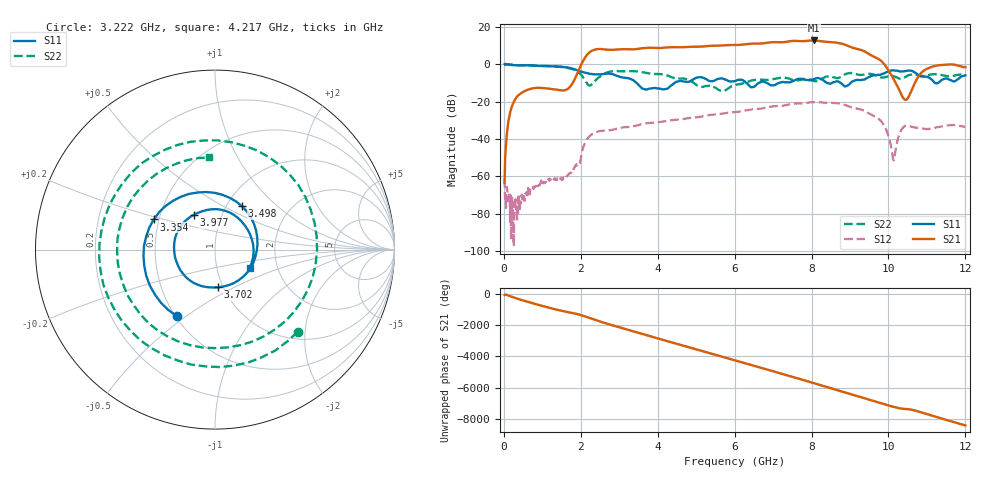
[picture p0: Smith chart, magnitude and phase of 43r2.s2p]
#  HZ  S  DB  R  50.00
! Rohde & Schwarz ZVA67 4Ports - Version 3.30 - 1305.7002k04 SN: 101038
! Date: 2022-09-30 01:50:57
! Measurements: S11 S21 S12 S22
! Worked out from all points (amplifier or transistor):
!   1000 points, 20 MHz to 12 GHz, reference 50 ohm
!   highest |S21| = 12.8 dB at 8.067 GHz (marker M1)
!   |S21| within 3 dB of that: 5.295 GHz to 8.955 GHz (3.66 GHz wide, 51.4 % of centre)
!   unconditionally stable (mu >= 1): 43.91 MHz to 63.83 MHz; 116.7 MHz to 7.641 GHz; 8.457 GHz to end of sweep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
!   at 2.011 GHz: K = 64.27, MAG = 3.4 dB, |S12| = -49.3 dB
!   at 6.016 GHz: K = 2.37, MAG = 11.4 dB, |S12| = -25.6 dB
!   at 12 GHz: K = 15.13, MAG = 1.1 dB, |S12| = -33.4 dB
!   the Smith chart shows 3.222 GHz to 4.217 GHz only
!   S11 on the Smith chart (normalised r, x): 3.222 GHz: 0.51, -0.46; 3.354 GHz: 0.47, +0.18; 3.498 GHz: 1.18, +0.62; 3.702 GHz: 0.95, -0.42; 3.977 GHz: 0.74, +0.30; 4.217 GHz: 1.44, -0.31
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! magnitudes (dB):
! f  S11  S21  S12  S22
! 20 MHz  0.0  -63.5  -61.7  0.1
! 139.9 MHz  -0.1  -28.1  -69.7  -0.1
! 331.8 MHz  -0.5  -17.6  -76.2  -0.5
! 1.639 GHz  -1.6  -13.5  -59.7  -1.9
! 2.023 GHz  -4.0  0.3  -47.9  -5.9
! 2.322 GHz  -5.3  7.5  -37.1  -10.0
! 3.222 GHz  -7.4  8.0  -33.6  -3.7
! 3.354 GHz  -8.4  8.0  -33.2  -3.7
! 3.498 GHz  -10.9  8.3  -32.5  -3.9
! 3.702 GHz  -13.5  8.8  -31.6  -4.6
! 3.977 GHz  -12.9  8.7  -31.1  -5.2
! 4.025 GHz  -12.9  8.7  -31.0  -5.2
! 4.217 GHz  -13.2  9.0  -30.4  -5.8
! 6.016 GHz  -8.9  10.3  -25.6  -11.1
! 8.019 GHz  -8.1  12.7  -20.3  -8.7
! 8.067 GHz  -7.9  12.8  -20.2  -9.0
! 9.374 GHz  -8.1  7.0  -24.9  -5.5
! 10.01 GHz  -3.7  -3.5  -38.9  -6.4
! 10.14 GHz  -3.3  -8.1  -51.4  -6.4
! 10.44 GHz  -3.6  -19.0  -33.0  -6.8
! 10.98 GHz  -6.6  -2.7  -34.7  -6.1
! 12 GHz  -5.9  -1.6  -33.4  -5.4
